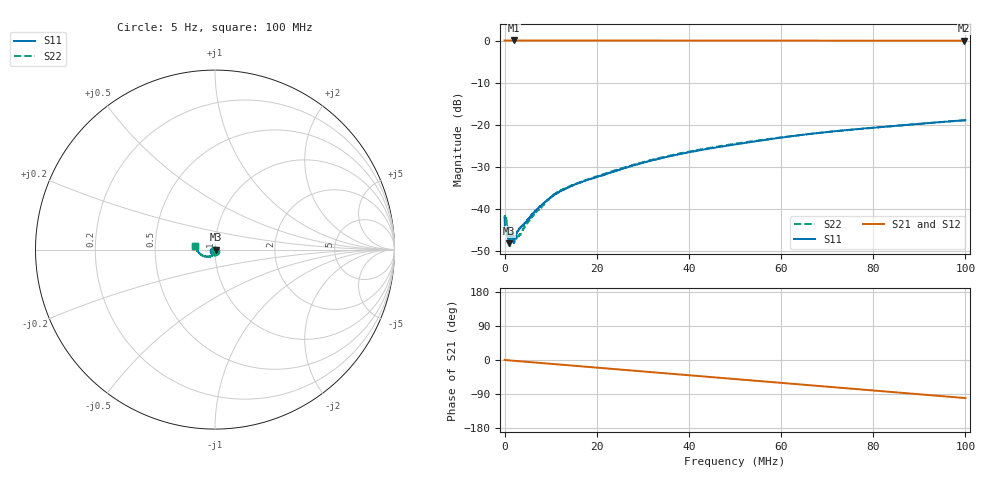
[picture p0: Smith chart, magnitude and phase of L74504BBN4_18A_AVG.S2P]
!Agilent Technologies,E5061B,MY49102235,A.02.00
!Date: Tue Jul 11 16:42:11 2023
!Data & Calibration Information:
!Freq	S11:SOLT2(ON)	S21:SOLT2(ON)	S12:SOLT2(ON)	S22:SOLT2(ON)
# Hz S RI R 50
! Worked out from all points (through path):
!   1600 points, 5 Hz to 100 MHz, reference 50 ohm
!   highest |S21| = 0.02 dB at 2.001 MHz (marker M1); lowest = -0.1 dB at 99.75 MHz (marker M2)
!   group delay of S21, straight-line fit = 2.79 ns
!   lowest |S11| = -48.3 dB at 1.001 MHz (marker M3), VSWR 1.01, Z = 50.4 - j0.0751 ohm
!   |S11| at or under -10 dB: start of sweep to end of sweep
!   |S22| runs from -49.0 to -19.0 dB; largest |S21 - S12| = 0.0027
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5  -0.00533 -0.00564  1.002 0.008  1 0.0103  -0.00142 -0.00755
437778.6  0.00513 -0.0006  1.001 -0.00535  1.001 -0.00609  0.00662 -0.00221
625395.8  0.00505 -0.000599  1.002 -0.0106  1.002 -0.0101  0.00609 -0.000988
1000630  0.00379 -0.000745  1.001 -0.0166  1.001 -0.0162  0.00517 -0.00166
1563482  0.00437 -0.00285  1.001 -0.0263  1.001 -0.0255  0.00317 -0.00342
2001256  0.00306 -0.00276  1.002 -0.035  1.001 -0.0348  0.00319 -0.00248
2376490  0.00332 -0.00292  0.9998 -0.0414  1 -0.0416  0.00398 -0.00258
3252037  0.00425 -0.00409  0.9994 -0.0569  0.9992 -0.0567  0.00318 -0.00359
6003757  0.00335 -0.00769  0.9954 -0.1049  0.9955 -0.1047  0.00293 -0.00753
9505946  0.00151 -0.0128  0.987 -0.1662  0.9872 -0.1659  0.000964 -0.0128
1.156974e7  3.52e-05 -0.0156  0.9806 -0.2016  0.9802 -0.2013  -0.000797 -0.0158
1.669794e7  -0.00377 -0.0203  0.9578 -0.2889  0.9577 -0.2885  -0.00409 -0.0205
2.582865e7  -0.0109 -0.0279  0.8996 -0.4379  0.8994 -0.4377  -0.00877 -0.0293
3.333334e7  -0.0196 -0.0337  0.8338 -0.5521  0.8337 -0.5518  -0.0182 -0.0351
4.040025e7  -0.0289 -0.0372  0.7587 -0.6506  0.7589 -0.6506  -0.0283 -0.0388
5.003127e7  -0.0428 -0.039  0.6383 -0.7689  0.6382 -0.7686  -0.043 -0.0403
6.672921e7  -0.0709 -0.0326  0.3883 -0.919  0.3887 -0.919  -0.0702 -0.0331
7.53596e7  -0.084 -0.0233  0.2453 -0.9662  0.2455 -0.9661  -0.0834 -0.0243
8.33646e7  -0.0943 -0.0111  0.1078 -0.9904  0.1078 -0.9905  -0.0939 -0.0131
9.155722e7  -0.1036 0.00357  -0.0352 -0.9946  -0.0352 -0.9947  -0.1036 0.000406
9.974984e7  -0.1107 0.02  -0.1771 -0.9783  -0.1767 -0.9785  -0.1106 0.0169
1e8  -0.1108 0.0205  -0.1813 -0.9776  -0.1811 -0.9777  -0.111 0.0176
